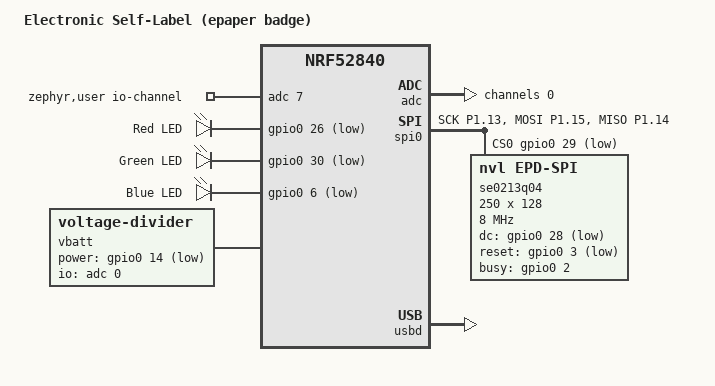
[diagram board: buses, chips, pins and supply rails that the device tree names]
/dts-v1/;
#include <nordic/nrf52840_qiaa.dtsi>
#include <dt-bindings/input/input-event-codes.h>

/ {
	model = "Electronic Self-Label (epaper badge)";
	compatible = "nordic,esl";

	zephyr,user {
		io-channels = <&adc 7>;
	};

	chosen {
		zephyr,console = &cdc_acm_uart0;
		/* zephyr,console = &fakeuart; */
		zephyr,shell-uart = &fakeuart;
		zephyr,sram = &sram0;
		zephyr,flash = &flash0;
		zephyr,code-partition = &slot0_partition;
		zephyr,display = &se0213q04;
	};

	leds {
		compatible = "gpio-leds";
		status = "okay";
		led0: led_0 {
			gpios = <&gpio0 26 GPIO_ACTIVE_LOW>;
			label = "Red LED";
		};
		led1: led_1 {
			gpios = <&gpio0 30 GPIO_ACTIVE_LOW>;
			label = "Green LED";
		};
		led2: led_2 {
			gpios = <&gpio0 6 GPIO_ACTIVE_LOW>;
			label = "Blue LED";
		};
	};

	fakeuart: fake {
		compatible = "nvl,epd-uart";
		status = "okay";
	};

	vbatt {
		compatible = "voltage-divider";
		io-channels = <&adc 0>;
		output-ohms = <40000>;
		full-ohms = <(27000 + 40000)>;
		power-gpios = <&gpio0 14 GPIO_ACTIVE_LOW>;
	};

	aliases {
		led0 = &led0;
		led1 = &led1;
		led2 = &led2;
		bootloader-led0 = &led0;
		mcuboot-led0 = &led0;
		watchdog0 = &wdt0;
	};
};

&adc {
	status = "okay";

	#address-cells = <1>;
	#size-cells = <0>;

	channel@0 {
		reg = <0>;
		zephyr,gain = "ADC_GAIN_1_6";
		zephyr,reference = "ADC_REF_INTERNAL";
		zephyr,acquisition-time = <ADC_ACQ_TIME_DEFAULT>;
		zephyr,input-positive = <NRF_SAADC_AIN7>;
		zephyr,resolution = <12>;
	};
};

&gpio0 {
	status = "okay";
};

&gpio1 {
	status = "okay";
};

&uart0 {
	/* Disable UART, it isn't connected */
	status = "disabled";
};

&pinctrl {
	spi0_default: spi0_default {
		group1 {
			psels = <NRF_PSEL(SPIM_SCK, 1, 13)>,
				<NRF_PSEL(SPIM_MOSI, 1, 15)>,
				<NRF_PSEL(SPIM_MISO, 1, 14)>;
		};
	};

	spi0_sleep: spi0_sleep {
		group1 {
			psels = <NRF_PSEL(SPIM_SCK, 1, 13)>,
				<NRF_PSEL(SPIM_MOSI, 1, 15)>,
				<NRF_PSEL(SPIM_MISO, 1, 14)>;
			low-power-enable;
		};
	};
};

&spi0 {
	status = "okay";
	/* SPIM broken in upstream. tested ~3mo ago and it works */
	compatible = "nordic,nrf-spi";

	pinctrl-0 = <&spi0_default>;
	pinctrl-1 = <&spi0_sleep>;
	pinctrl-names = "default", "sleep";

	cs-gpios = <&gpio0 29 GPIO_ACTIVE_LOW>;

	se0213q04: epd@0 {
		reg = <0>;
		spi-max-frequency = <8000000>;
		compatible = "nvl,epd-spi";
		width = <250>;
		height = <128>;
        // FIXME: those are hardcoded in utils.h rn
		dc-gpios = <&gpio0 28 GPIO_ACTIVE_LOW>;
		reset-gpios = <&gpio0 3 GPIO_ACTIVE_LOW>;
		busy-gpios = <&gpio0 2 GPIO_ACTIVE_HIGH>;
	};
};

zephyr_udc0: &usbd {
	compatible = "nordic,nrf-usbd";
	status = "okay";

	cdc_acm_uart0: cdc_acm_uart0 {
		compatible = "zephyr,cdc-acm-uart";
	};
};

&flash0 {
	partitions {
		compatible = "fixed-partitions";
		#address-cells = <1>;
		#size-cells = <1>;

		boot_partition: partition@0 {
			label = "mcuboot";
			reg = <0x00000000 0xC000>;
		};
		slot0_partition: partition@C000 {
			label = "image-0";
			reg = <0x0000C000 0x17000>;
		};
		slot1_partition: partition@23000 {
			label = "image-1";
			reg = <0x00023000 0x17000>;
		};
		storage_partition: partition@3a000 {
			label = "storage";
			reg = <0x0003a000 0x00006000>;
		};
	};
};
